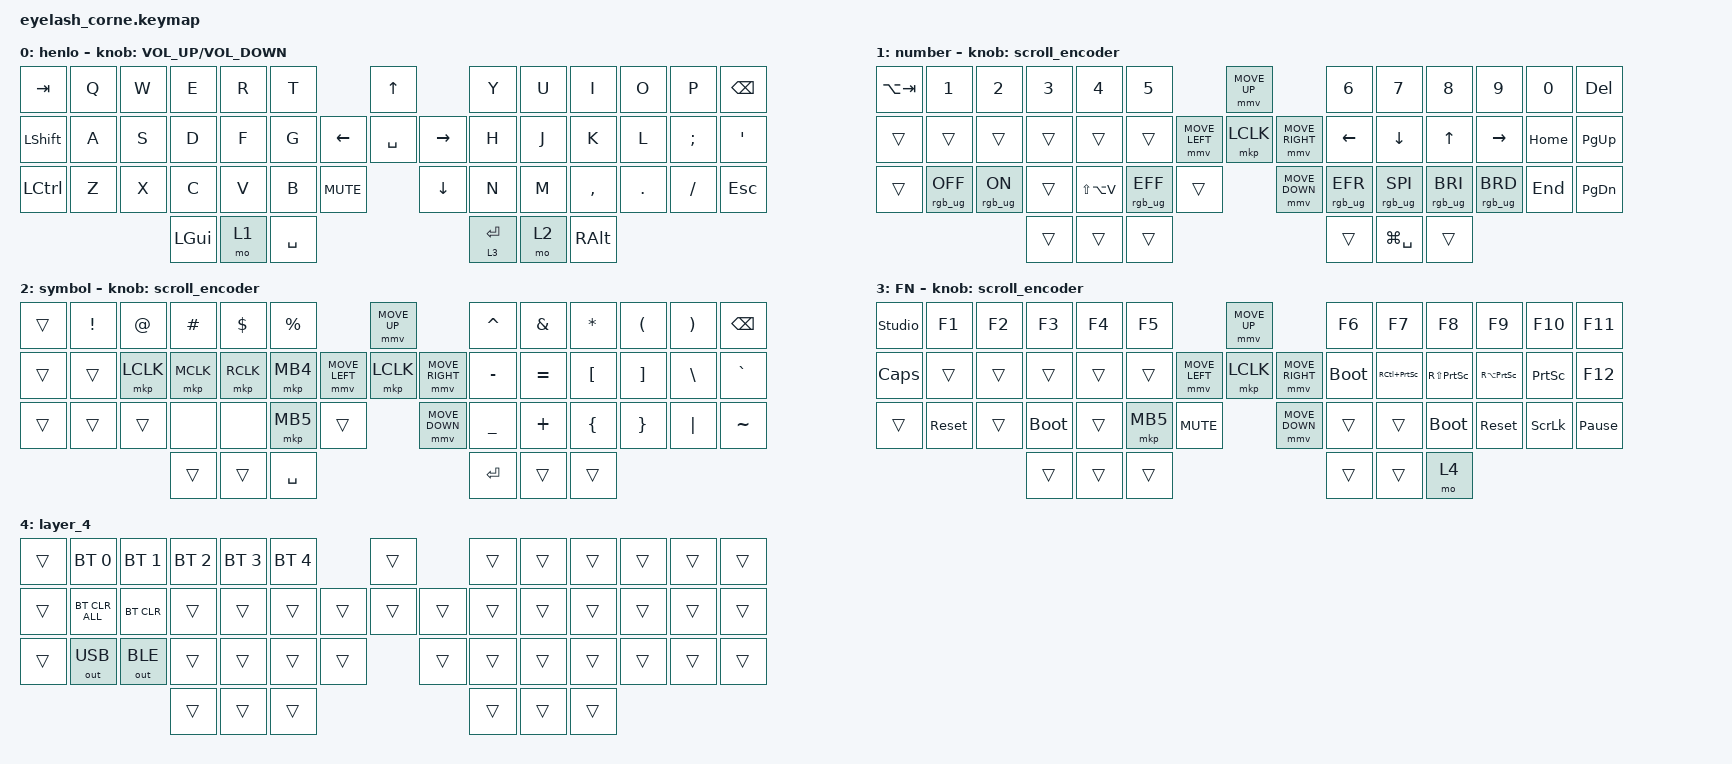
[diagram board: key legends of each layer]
#include <dt-bindings/zmk/mouse.h>
#include <input/processors.dtsi>
#include <behaviors.dtsi>
#include <dt-bindings/zmk/bt.h>
#include <dt-bindings/zmk/keys.h>
#include <dt-bindings/zmk/outputs.h>
#include <dt-bindings/zmk/pointing.h>
#include <dt-bindings/zmk/pointing.h>
#include <dt-bindings/zmk/pointing.h>
#include <dt-bindings/zmk/rgb.h>

/*

   &mmv_input_listener {
       input-processors = <&zip_xy_scaler 2 1>;
   };

   &msc_input_listener {
       input-processors = <&zip_xy_scaler 2 1>;
   };

 */

#define ZMK_MOUSE_DEFAULT_MOVE_VAL 1200  // 600
#define ZMK_MOUSE_DEFAULT_SCRL_VAL 20    // 10

/ {
    behaviors {
        td0: td0 {
            compatible = "zmk,behavior-tap-dance";
            display-name = "Shift/Caps Lock Tap Dance";
            #binding-cells = <0>;
            bindings = <&kp LEFT_SHIFT>, <&kp CAPS>;
        };
    };

    rgb_encoder: rgb_encoder {
        compatible = "zmk,behavior-sensor-rotate";
        #sensor-binding-cells = <0>;
        bindings = <&rgb_ug RGB_BRI>, <&rgb_ug RGB_BRD>;
    };

    scroll_encoder: scroll_encoder {
        compatible = "zmk,behavior-sensor-rotate";
        #sensor-binding-cells = <0>;
        bindings = <&msc SCRL_DOWN>, <&msc SCRL_UP>;

        tap-ms = <30>;
    };

    keymap {
        compatible = "zmk,keymap";

        default_layer {
            display-name = "henlo";
            bindings = <
&kp TAB           &kp Q  &kp W  &kp E     &kp R  &kp T                              &kp UP                &kp Y        &kp U  &kp I      &kp O    &kp P     &kp BSPC
&kp LEFT_SHIFT    &kp A  &kp S  &kp D     &kp F  &kp G                    &kp LEFT  &kp SPACE  &kp RIGHT  &kp H        &kp J  &kp K      &kp L    &kp SEMI  &kp SQT
&kp LEFT_CONTROL  &kp Z  &kp X  &kp C     &kp V  &kp B      &kp C_MUTE              &kp DOWN              &kp N        &kp M  &kp COMMA  &kp DOT  &kp FSLH  &kp ESC
                                &kp LGUI  &mo 1  &kp SPACE                                                &lt 3 ENTER  &mo 2  &kp RALT
            >;

            sensor-bindings = <&inc_dec_kp C_VOLUME_UP C_VOLUME_DOWN>;
        };

        lower_layer {
            display-name = "number";
            bindings = <
&kp LA(TAB)  &kp N1           &kp N2          &kp N3  &kp N4         &kp N5                                     &mmv MOVE_UP                     &kp N6           &kp N7           &kp N8           &kp N9           &kp N0    &kp DELETE
&trans       &trans           &trans          &trans  &trans         &trans                     &mmv MOVE_LEFT  &mkp LCLK       &mmv MOVE_RIGHT  &kp LEFT         &kp DOWN         &kp UP           &kp RIGHT        &kp HOME  &kp PG_UP
&trans       &rgb_ug RGB_OFF  &rgb_ug RGB_ON  &trans  &kp LS(LA(V))  &rgb_ug RGB_EFF  &trans                    &mmv MOVE_DOWN                   &rgb_ug RGB_EFR  &rgb_ug RGB_SPI  &rgb_ug RGB_BRI  &rgb_ug RGB_BRD  &kp END   &kp PG_DN
                                              &trans  &trans         &trans                                                                      &trans           &kp LG(SPACE)    &trans
            >;

            sensor-bindings = <&scroll_encoder>;
        };

        raise_layer {
            display-name = "symbol";
            bindings = <
&trans  &kp EXCL  &kp AT     &kp HASH   &kp DLLR   &kp PRCNT                            &mmv MOVE_UP                     &kp CARET  &kp AMPS   &kp ASTRK  &kp LPAR  &kp RPAR  &kp BSPC
&trans  &trans    &mkp LCLK  &mkp MCLK  &mkp RCLK  &mkp MB4             &mmv MOVE_LEFT  &mkp LCLK       &mmv MOVE_RIGHT  &kp MINUS  &kp EQUAL  &kp LBKT   &kp RBKT  &kp BSLH  &kp GRAVE
&trans  &trans    &trans     &none      &none      &mkp MB5   &trans                    &mmv MOVE_DOWN                   &kp UNDER  &kp PLUS   &kp LBRC   &kp RBRC  &kp PIPE  &kp TILDE
                             &trans     &trans     &kp SPACE                                                             &kp RET    &trans     &trans
            >;

            sensor-bindings = <&scroll_encoder>;
        };

        layer_3 {
            display-name = "FN";
            bindings = <
&studio_unlock  &kp F1      &kp F2  &kp F3       &kp F4  &kp F5                                  &mmv MOVE_UP                     &kp F6       &kp F7               &kp F8               &kp F9               &kp F10          &kp F11
&kp CAPSLOCK    &trans      &trans  &trans       &trans  &trans                  &mmv MOVE_LEFT  &mkp LCLK       &mmv MOVE_RIGHT  &bootloader  &kp RC(PRINTSCREEN)  &kp RS(PRINTSCREEN)  &kp RA(PRINTSCREEN)  &kp PRINTSCREEN  &kp F12
&trans          &sys_reset  &trans  &bootloader  &trans  &mkp MB5  &kp C_MUTE                    &mmv MOVE_DOWN                   &trans       &trans               &bootloader          &sys_reset           &kp SCROLLLOCK   &kp PAUSE_BREAK
                                    &trans       &trans  &trans                                                                   &trans       &trans               &mo 4
            >;

            sensor-bindings = <&scroll_encoder>;
        };

        layer_4 {
            bindings = <
&trans  &bt BT_SEL 0    &bt BT_SEL 1  &bt BT_SEL 2  &bt BT_SEL 3  &bt BT_SEL 4                    &trans          &trans  &trans  &trans  &trans  &trans  &trans
&trans  &bt BT_CLR_ALL  &bt BT_CLR    &trans        &trans        &trans                  &trans  &trans  &trans  &trans  &trans  &trans  &trans  &trans  &trans
&trans  &out OUT_USB    &out OUT_BLE  &trans        &trans        &trans        &trans            &trans          &trans  &trans  &trans  &trans  &trans  &trans
                                      &trans        &trans        &trans                                          &trans  &trans  &trans
            >;
        };
    };
};
